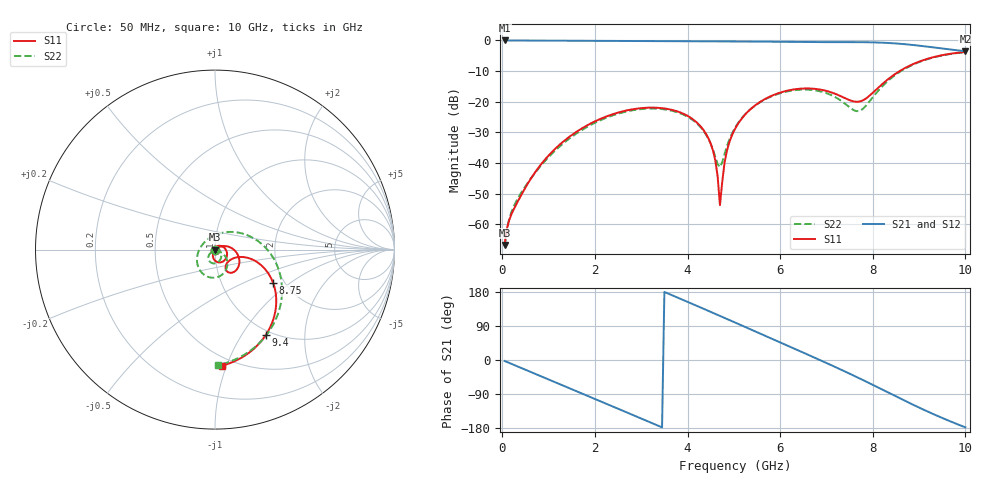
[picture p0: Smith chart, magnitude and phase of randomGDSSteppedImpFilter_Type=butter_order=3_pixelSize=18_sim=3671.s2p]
! freq	dB(S11)	phase(S11)	dB(S12)	phase(S12)
!  dB(S21)	phase(S21)	dB(S22)	phase(S22)
!S-par simulation data
#  GHz  S  DB  R 50
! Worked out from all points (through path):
!   200 points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, 50 MHz to 10 GHz, reference 50 ohm
!   highest |S21| = -0.01 dB at 50 MHz (marker M1); lowest = -3.5 dB at 10 GHz (marker M2)
!   group delay of S21, straight-line fit = 150 ps
!   lowest |S11| = -66.8 dB at 50 MHz (marker M3), VSWR 1.00, Z = 50 + j0.0442 ohm
!   |S11| at or under -10 dB: start of sweep to 8.582 GHz
!   |S22| runs from -67.2 to -3.8 dB; largest |S21 - S12| = 0
!   S11 on the Smith chart (normalised r, x): 50 MHz: 1.00, +0.00; 8.75 GHz: 1.75, -0.75; 9.4 GHz: 0.93, -1.28; 10 GHz: 0.43, -0.96
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0.05  -66.78 74.4  -0.01 -2.6  -0.01 -2.6  -67.16 70.0
0.2  -56.66 77.1  -0.02 -10.3  -0.02 -10.3  -55.91 54.5
0.5  -48.02 88.9  -0.03 -25.7  -0.03 -25.7  -47.56 30.8
1.05  -36.75 72.5  -0.06 -54.0  -0.06 -54.0  -37.32 2.9
1.75  -28.43 33.1  -0.11 -89.9  -0.11 -89.9  -28.95 -28.7
2.5  -23.56 -10.3  -0.17 -128.6  -0.17 -128.6  -23.91 -62.9
3.4  -22.04 -60.5  -0.24 -175.2  -0.24 -175.2  -22.32 -104.5
4  -24.61 -92.7  -0.27 153.5  -0.27 153.5  -24.91 -131.1
4.4  -30.53 -112.8  -0.29 132.3  -0.29 132.3  -30.75 -142.6
4.6  -39.16 -118.6  -0.30 121.7  -0.30 121.7  -37.99 -127.4
4.7  -53.76 -55.6  -0.31 116.4  -0.31 116.4  -41.36 -80.0
4.8  -39.78 35.0  -0.31 111.0  -0.31 111.0  -37.03 -36.9
4.85  -36.04 35.3  -0.32 108.4  -0.32 108.4  -34.56 -29.4
5.05  -28.23 27.9  -0.33 97.6  -0.33 97.6  -27.94 -25.1
5.75  -18.53 -6.6  -0.43 59.9  -0.43 59.9  -18.67 -54.7
6.7  -15.74 -49.2  -0.54 8.6  -0.54 8.6  -16.19 -109.2
7.2  -17.49 -61.6  -0.54 -19.0  -0.54 -19.0  -18.58 -148.6
7.7  -19.98 -39.2  -0.55 -47.7  -0.55 -47.7  -23.06 122.1
8.35  -12.43 -16.1  -0.84 -86.8  -0.84 -86.8  -12.91 15.9
8.75  -8.58 -29.7  -1.30 -110.9  -1.30 -110.9  -8.79 -15.7
9.4  -5.13 -59.4  -2.45 -147.7  -2.45 -147.7  -5.22 -57.0
10  -3.77 -86.6  -3.51 -177.8  -3.51 -177.8  -3.83 -88.7
